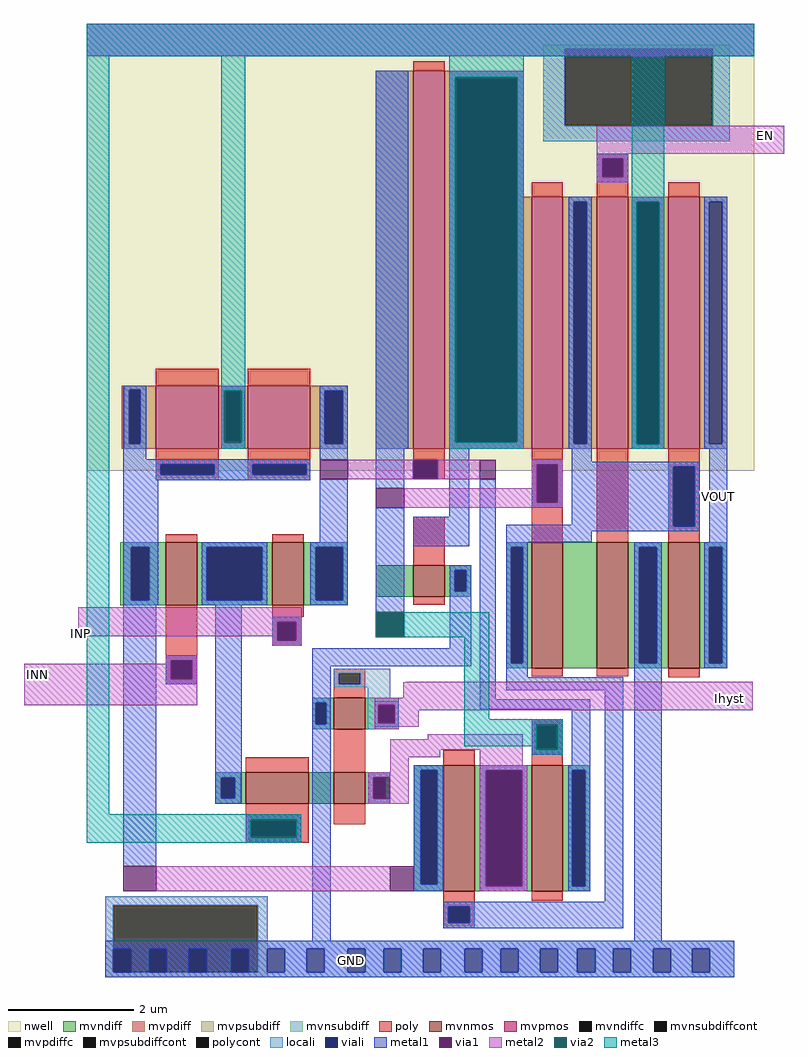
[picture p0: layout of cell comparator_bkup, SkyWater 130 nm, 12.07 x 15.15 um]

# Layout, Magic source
magic
tech sky130A
<< nwell >>
rect -261 100 799 810
<< mvnmos >>
rect -136 -114 -86 -14
rect 33 -114 83 -14
rect 257 -100 307 -50
rect 445 -214 495 -14
rect 549 -214 599 -14
rect 662 -214 712 -14
rect 131 -311 181 -261
rect -9 -429 91 -379
rect 131 -429 181 -379
rect 305 -568 355 -368
rect 445 -568 495 -368
<< mvpmos >>
rect -152 135 -52 235
rect -6 135 94 235
rect 257 135 307 735
rect 445 135 495 535
rect 549 135 599 535
rect 662 135 712 535
<< mvndiff >>
rect -208 -22 -136 -14
rect -208 -106 -191 -22
rect -162 -106 -136 -22
rect -208 -114 -136 -106
rect -86 -22 33 -14
rect -86 -106 -71 -22
rect 17 -106 33 -22
rect -86 -114 33 -106
rect 83 -22 153 -14
rect 83 -106 102 -22
rect 145 -106 153 -22
rect 405 -22 445 -14
rect 198 -100 257 -50
rect 307 -58 349 -50
rect 307 -92 323 -58
rect 341 -92 349 -58
rect 307 -100 349 -92
rect 83 -114 153 -106
rect 405 -206 413 -22
rect 431 -206 445 -22
rect 405 -214 445 -206
rect 495 -214 549 -14
rect 599 -22 662 -14
rect 599 -206 616 -22
rect 644 -206 662 -22
rect 599 -214 662 -206
rect 712 -22 756 -14
rect 712 -206 727 -22
rect 748 -206 756 -22
rect 712 -214 756 -206
rect 97 -269 131 -261
rect 97 -303 102 -269
rect 119 -303 131 -269
rect 97 -311 131 -303
rect 181 -272 234 -261
rect 181 -301 202 -272
rect 228 -301 234 -272
rect 181 -311 234 -301
rect 258 -376 305 -368
rect -57 -388 -9 -379
rect -57 -420 -48 -388
rect -26 -420 -9 -388
rect -57 -429 -9 -420
rect 91 -429 131 -379
rect 181 -387 221 -379
rect 181 -421 194 -387
rect 213 -421 221 -387
rect 181 -429 221 -421
rect 258 -557 269 -376
rect 295 -557 305 -376
rect 258 -568 305 -557
rect 355 -376 445 -368
rect 355 -560 372 -376
rect 430 -560 445 -376
rect 355 -568 445 -560
rect 495 -376 538 -368
rect 495 -560 510 -376
rect 530 -560 538 -376
rect 495 -568 538 -560
<< mvpdiff >>
rect -206 228 -152 235
rect -206 143 -194 228
rect -176 143 -152 228
rect -206 135 -152 143
rect -52 227 -6 235
rect -52 144 -43 227
rect -15 144 -6 227
rect -52 135 -6 144
rect 94 227 153 235
rect 94 143 117 227
rect 145 143 153 227
rect 94 135 153 143
rect 198 135 257 735
rect 307 725 433 735
rect 307 145 324 725
rect 422 535 433 725
rect 422 145 445 535
rect 307 135 445 145
rect 495 527 549 535
rect 495 143 512 527
rect 533 143 549 527
rect 495 135 549 143
rect 599 527 662 535
rect 599 142 612 527
rect 648 142 662 527
rect 599 135 662 142
rect 712 135 756 535
<< mvndiffc >>
rect -191 -106 -162 -22
rect -71 -106 17 -22
rect 102 -106 145 -22
rect 323 -92 341 -58
rect 413 -206 431 -22
rect 616 -206 644 -22
rect 727 -206 748 -22
rect 102 -303 119 -269
rect 202 -301 228 -272
rect -48 -420 -26 -388
rect 194 -421 213 -387
rect 269 -557 295 -376
rect 372 -560 430 -376
rect 510 -560 530 -376
<< mvpdiffc >>
rect -194 143 -176 228
rect -43 144 -15 227
rect 117 143 145 227
rect 324 145 422 725
rect 512 143 533 527
rect 612 142 648 527
<< mvpsubdiff >>
rect -232 -590 26 -576
rect -232 -697 -219 -590
rect 10 -697 26 -590
rect -232 -705 26 -697
<< mvnsubdiff >>
rect 464 770 760 776
rect 464 648 498 770
rect 733 648 760 770
rect 464 623 760 648
<< mvpsubdiffcont >>
rect -219 -697 10 -590
<< mvnsubdiffcont >>
rect 498 648 733 770
<< poly >>
rect 257 735 307 750
rect -152 235 -52 262
rect -6 235 94 262
rect 549 596 599 603
rect 549 566 557 596
rect 591 566 599 596
rect 445 535 495 558
rect 549 535 599 566
rect 662 535 712 558
rect -152 110 -52 135
rect -152 93 -144 110
rect -59 93 -52 110
rect -152 85 -52 93
rect -6 110 94 135
rect -6 93 2 110
rect 87 93 94 110
rect -6 85 94 93
rect 257 117 307 135
rect 296 86 307 117
rect 445 110 495 135
rect 445 49 453 110
rect 487 49 495 110
rect -136 -14 -86 -1
rect 33 -14 83 -1
rect 257 -50 307 27
rect 445 -14 495 49
rect 549 -14 599 135
rect 662 106 712 135
rect 662 12 670 106
rect 704 12 712 106
rect 662 -14 712 12
rect 257 -113 307 -100
rect -136 -201 -86 -114
rect 33 -132 83 -114
rect 33 -140 80 -132
rect 33 -170 41 -140
rect 71 -170 80 -140
rect 33 -178 80 -170
rect -136 -231 -128 -201
rect -94 -231 -86 -201
rect -136 -239 -86 -231
rect 131 -222 181 -215
rect 131 -239 139 -222
rect 173 -239 181 -222
rect 445 -227 495 -214
rect 549 -227 599 -214
rect 662 -228 712 -214
rect 131 -261 181 -239
rect 445 -303 495 -295
rect -9 -379 91 -355
rect 131 -379 181 -311
rect 445 -343 453 -303
rect 487 -343 495 -303
rect 305 -368 355 -344
rect 445 -368 495 -343
rect -9 -454 91 -429
rect -9 -483 -1 -454
rect 71 -483 91 -454
rect 131 -462 181 -429
rect -9 -491 91 -483
rect 305 -593 355 -568
rect 445 -583 495 -568
rect 305 -618 313 -593
rect 347 -618 355 -593
rect 305 -627 355 -618
<< polycont >>
rect 557 566 591 596
rect -144 93 -59 110
rect 2 93 87 110
rect 257 86 296 117
rect 453 49 487 110
rect 670 12 704 106
rect 41 -170 71 -140
rect -128 -231 -94 -201
rect 139 -239 173 -222
rect 453 -343 487 -303
rect -1 -483 71 -454
rect 313 -618 347 -593
<< locali >>
rect -261 770 799 810
rect -261 758 498 770
rect -202 228 -167 235
rect -202 143 -194 228
rect -176 143 -167 228
rect -202 135 -167 143
rect -48 227 -10 235
rect -48 144 -43 227
rect -15 144 -10 227
rect -48 135 -10 144
rect 109 227 153 235
rect 109 143 117 227
rect 145 143 153 227
rect 109 135 153 143
rect 198 135 249 735
rect 314 725 433 735
rect 314 145 324 725
rect 422 145 433 725
rect 464 648 498 758
rect 733 758 799 770
rect 733 648 760 758
rect 464 623 760 648
rect 549 596 599 603
rect 549 566 557 596
rect 591 566 599 596
rect 549 558 599 566
rect 314 135 433 145
rect 504 527 541 535
rect 504 143 512 527
rect 533 143 541 527
rect 504 135 541 143
rect 604 527 656 535
rect 604 142 612 527
rect 648 142 656 527
rect 604 135 656 142
rect 719 527 756 535
rect 719 143 727 527
rect 748 143 756 527
rect 719 135 756 143
rect -152 110 94 118
rect -152 93 -144 110
rect -59 93 2 110
rect 87 93 94 110
rect -152 85 94 93
rect 445 110 495 118
rect 445 49 453 110
rect 487 49 495 110
rect 445 41 495 49
rect 662 106 712 114
rect 662 12 670 106
rect 704 12 712 106
rect 662 4 712 12
rect -203 -22 -148 -14
rect -203 -106 -191 -22
rect -162 -106 -148 -22
rect -203 -114 -148 -106
rect -79 -22 25 -14
rect -79 -106 -71 -22
rect 17 -106 25 -22
rect -79 -114 25 -106
rect 94 -22 153 -14
rect 94 -106 102 -22
rect 145 -106 153 -22
rect 405 -22 439 -14
rect 315 -58 349 -50
rect 315 -92 323 -58
rect 341 -92 349 -58
rect 315 -100 349 -92
rect 94 -114 153 -106
rect 33 -140 80 -132
rect 33 -170 41 -140
rect 71 -170 80 -140
rect 33 -178 80 -170
rect -136 -201 -86 -193
rect -136 -231 -128 -201
rect -94 -231 -86 -201
rect 405 -206 413 -22
rect 431 -206 439 -22
rect 405 -214 439 -206
rect 608 -22 652 -14
rect 608 -206 616 -22
rect 644 -206 652 -22
rect 608 -214 652 -206
rect 719 -22 756 -14
rect 719 -206 727 -22
rect 748 -206 756 -22
rect 719 -214 756 -206
rect -136 -239 -86 -231
rect 131 -222 221 -215
rect 131 -239 139 -222
rect 173 -239 221 -222
rect 131 -244 221 -239
rect 185 -261 221 -244
rect 97 -269 125 -261
rect 97 -303 102 -269
rect 119 -303 125 -269
rect 97 -311 125 -303
rect 185 -272 234 -261
rect 185 -301 202 -272
rect 228 -301 234 -272
rect 185 -311 234 -301
rect 445 -303 495 -295
rect 445 -343 453 -303
rect 487 -343 495 -303
rect 445 -351 495 -343
rect 258 -376 305 -368
rect -57 -388 -17 -379
rect -57 -420 -48 -388
rect -26 -420 -17 -388
rect -57 -429 -17 -420
rect 186 -387 221 -379
rect 186 -421 194 -387
rect 213 -421 221 -387
rect 186 -429 221 -421
rect -9 -454 79 -446
rect -9 -483 -1 -454
rect 71 -483 79 -454
rect -9 -491 79 -483
rect 258 -557 269 -376
rect 295 -557 305 -376
rect 258 -568 305 -557
rect 363 -376 438 -368
rect 363 -560 372 -376
rect 430 -560 438 -376
rect 363 -568 438 -560
rect 503 -376 538 -368
rect 503 -560 510 -376
rect 530 -560 538 -376
rect 503 -568 538 -560
rect -232 -590 26 -576
rect -232 -697 -219 -590
rect 10 -647 26 -590
rect 305 -593 355 -585
rect 305 -618 313 -593
rect 347 -618 355 -593
rect 305 -627 355 -618
rect 10 -659 767 -647
rect 10 -697 25 -659
rect 53 -697 88 -659
rect 116 -697 153 -659
rect 181 -697 210 -659
rect 238 -697 273 -659
rect 301 -697 339 -659
rect 367 -697 396 -659
rect 424 -697 459 -659
rect 487 -697 518 -659
rect 546 -697 575 -659
rect 603 -697 638 -659
rect 666 -697 700 -659
rect 728 -697 767 -659
rect -232 -705 767 -697
<< viali >>
rect -194 143 -176 228
rect -43 144 -15 227
rect 117 143 145 227
rect 324 145 422 725
rect 557 566 591 596
rect 512 143 533 527
rect 612 142 648 527
rect 727 143 748 527
rect -144 93 -59 110
rect 2 93 87 110
rect 257 86 296 117
rect 453 49 487 110
rect 670 12 704 106
rect -191 -106 -162 -22
rect -71 -106 17 -22
rect 102 -106 145 -22
rect 323 -92 341 -58
rect 41 -170 71 -140
rect -128 -231 -94 -201
rect 413 -206 431 -22
rect 616 -206 644 -22
rect 727 -206 748 -22
rect 102 -303 119 -269
rect 202 -301 228 -272
rect 453 -343 487 -303
rect -48 -420 -26 -388
rect 194 -421 213 -387
rect -1 -483 71 -454
rect 269 -557 295 -376
rect 372 -560 430 -376
rect 510 -560 530 -376
rect 313 -618 347 -593
rect -219 -697 -191 -659
rect -162 -697 -134 -659
rect -99 -697 -71 -659
rect -32 -697 -4 -659
rect 25 -697 53 -659
rect 88 -697 116 -659
rect 153 -697 181 -659
rect 210 -697 238 -659
rect 273 -697 301 -659
rect 339 -697 367 -659
rect 396 -697 424 -659
rect 459 -697 487 -659
rect 518 -697 546 -659
rect 575 -697 603 -659
rect 638 -697 666 -659
rect 700 -697 728 -659
<< metal1 >>
rect -261 758 799 810
rect -203 228 -167 235
rect -203 143 -194 228
rect -176 143 -167 228
rect -203 118 -167 143
rect -48 227 -10 235
rect -48 144 -43 227
rect -15 144 -10 227
rect -48 135 -10 144
rect 109 227 153 235
rect 109 143 117 227
rect 145 143 153 227
rect -203 110 94 118
rect -203 93 -144 110
rect -59 93 2 110
rect 87 93 94 110
rect -203 85 94 93
rect 109 117 153 143
rect -203 -22 -148 85
rect 109 -14 153 86
rect -203 -106 -191 -22
rect -162 -106 -148 -22
rect -203 -114 -148 -106
rect -79 -22 25 -14
rect -79 -106 -71 -22
rect 17 -106 25 -22
rect -79 -114 25 -106
rect 94 -22 153 -14
rect 94 -106 102 -22
rect 145 -106 153 -22
rect 94 -114 153 -106
rect 198 135 249 735
rect 314 725 433 735
rect 314 145 324 725
rect 422 145 433 725
rect 549 596 599 603
rect 549 566 557 596
rect 591 566 599 596
rect 549 558 599 566
rect 314 135 433 145
rect 504 527 541 535
rect 504 143 512 527
rect 533 143 541 527
rect 504 135 541 143
rect 604 527 656 535
rect 604 142 612 527
rect 648 142 656 527
rect 604 135 656 142
rect 719 527 756 535
rect 719 143 727 527
rect 748 143 756 527
rect 719 135 756 143
rect 198 72 243 135
rect -203 -528 -151 -114
rect -136 -201 -86 -193
rect -136 -231 -128 -201
rect -94 -231 -86 -201
rect -136 -239 -86 -231
rect -57 -388 -15 -114
rect 198 -125 243 41
rect 314 27 346 135
rect 257 -20 346 27
rect 33 -140 80 -132
rect 33 -170 41 -140
rect 71 -170 80 -140
rect 315 -58 349 -50
rect 315 -92 323 -58
rect 341 -92 349 -58
rect 33 -178 80 -170
rect 315 -182 349 -92
rect -57 -420 -48 -388
rect -26 -420 -15 -388
rect -57 -429 -15 -420
rect 97 -211 349 -182
rect 97 -269 126 -211
rect 363 -263 388 86
rect 445 110 495 118
rect 445 49 453 110
rect 487 49 495 110
rect 445 41 495 49
rect 509 114 541 135
rect 509 106 712 114
rect 509 14 670 106
rect 405 12 670 14
rect 704 12 712 106
rect 405 4 712 12
rect 405 -14 541 4
rect 727 -14 756 135
rect 405 -22 439 -14
rect 405 -206 413 -22
rect 431 -206 439 -22
rect 405 -228 439 -206
rect 608 -22 652 -14
rect 608 -206 616 -22
rect 644 -206 652 -22
rect 405 -249 591 -228
rect 97 -303 102 -269
rect 119 -303 126 -269
rect -9 -454 79 -446
rect -9 -483 -1 -454
rect 71 -483 79 -454
rect -9 -491 79 -483
rect 97 -647 126 -303
rect 196 -272 234 -266
rect 196 -301 202 -272
rect 228 -301 234 -272
rect 363 -279 538 -263
rect 196 -307 234 -301
rect 445 -303 495 -295
rect 445 -343 453 -303
rect 487 -343 495 -303
rect 445 -351 495 -343
rect 509 -368 538 -279
rect 258 -376 305 -368
rect 186 -387 221 -379
rect 186 -421 194 -387
rect 220 -421 221 -387
rect 186 -429 221 -421
rect 258 -557 269 -376
rect 295 -557 305 -376
rect 258 -568 305 -557
rect 363 -376 438 -368
rect 363 -560 372 -376
rect 430 -560 438 -376
rect 363 -568 438 -560
rect 503 -376 538 -368
rect 503 -560 510 -376
rect 530 -560 538 -376
rect 503 -568 538 -560
rect 561 -585 591 -249
rect 305 -593 591 -585
rect 305 -618 313 -593
rect 347 -618 591 -593
rect 305 -627 591 -618
rect 608 -647 652 -206
rect 719 -22 756 -14
rect 719 -206 727 -22
rect 748 -206 756 -22
rect 719 -214 756 -206
rect -232 -659 767 -647
rect -232 -697 -219 -659
rect -191 -697 -162 -659
rect -134 -697 -99 -659
rect -71 -697 -32 -659
rect -4 -697 25 -659
rect 53 -697 88 -659
rect 116 -697 153 -659
rect 181 -697 210 -659
rect 238 -697 273 -659
rect 301 -697 339 -659
rect 367 -697 396 -659
rect 424 -697 459 -659
rect 487 -697 518 -659
rect 546 -697 575 -659
rect 603 -697 638 -659
rect 666 -697 700 -659
rect 728 -697 767 -659
rect -232 -705 767 -697
<< via1 >>
rect -43 144 -15 227
rect 109 86 153 117
rect 324 145 422 725
rect 557 566 591 596
rect 612 142 648 527
rect 257 86 296 117
rect 198 41 243 72
rect -128 -231 -94 -201
rect 363 86 388 117
rect 41 -170 71 -140
rect 198 -165 243 -125
rect 453 49 487 110
rect -1 -483 71 -454
rect -203 -568 -151 -528
rect 202 -301 228 -272
rect 453 -343 487 -303
rect 194 -421 213 -387
rect 213 -421 220 -387
rect 221 -568 258 -528
rect 372 -560 430 -376
<< metal2 >>
rect -261 758 799 810
rect 314 725 433 735
rect -48 227 -10 235
rect -48 144 -43 227
rect -15 144 -10 227
rect -48 135 -10 144
rect 314 145 324 725
rect 422 145 433 725
rect 549 603 846 648
rect 549 596 599 603
rect 549 566 557 596
rect 591 566 599 596
rect 549 558 599 566
rect 314 135 433 145
rect 604 527 656 535
rect 604 142 612 527
rect 648 142 656 527
rect 604 135 656 142
rect 153 86 257 117
rect 296 86 363 117
rect 445 110 495 118
rect 445 72 453 110
rect 243 49 453 72
rect 487 49 495 110
rect 243 41 495 49
rect -275 -140 80 -117
rect -275 -163 41 -140
rect 33 -170 41 -163
rect 71 -170 80 -140
rect 33 -178 80 -170
rect -136 -201 -86 -193
rect -136 -207 -128 -201
rect -361 -231 -128 -207
rect -94 -231 -86 -201
rect -361 -273 -86 -231
rect 246 -236 796 -235
rect 241 -261 796 -236
rect 196 -272 796 -261
rect 196 -301 202 -272
rect 228 -281 796 -272
rect 228 -301 266 -281
rect 196 -307 266 -301
rect 445 -303 495 -295
rect 196 -311 234 -307
rect 280 -327 431 -319
rect 221 -343 431 -327
rect 221 -355 300 -343
rect 221 -379 250 -355
rect 186 -387 250 -379
rect 186 -421 194 -387
rect 220 -421 250 -387
rect 186 -429 250 -421
rect 363 -368 431 -343
rect 445 -343 453 -303
rect 487 -343 495 -303
rect 445 -351 495 -343
rect 363 -376 438 -368
rect -9 -454 79 -446
rect -9 -483 -1 -454
rect 71 -483 79 -454
rect -9 -491 79 -483
rect -151 -568 221 -528
rect 363 -560 372 -376
rect 430 -560 438 -376
rect 363 -568 438 -560
<< via2 >>
rect -43 144 -15 227
rect 324 145 422 725
rect 612 142 648 527
rect 198 -165 243 -125
rect 453 -343 487 -303
rect -1 -483 71 -454
<< metal3 >>
rect -261 758 799 810
rect -261 -446 -226 758
rect -48 227 -10 758
rect -48 144 -43 227
rect -15 144 -10 227
rect -48 135 -10 144
rect 314 725 433 758
rect 314 145 324 725
rect 422 145 433 725
rect 314 135 433 145
rect 604 527 656 758
rect 604 142 612 527
rect 648 142 656 527
rect 604 135 656 142
rect 243 -165 378 -125
rect 338 -295 378 -165
rect 338 -303 495 -295
rect 338 -338 453 -303
rect 445 -343 453 -338
rect 487 -343 495 -303
rect 445 -351 495 -343
rect -261 -454 79 -446
rect -261 -483 -1 -454
rect 71 -483 79 -454
rect -261 -491 79 -483
<< labels >>
rlabel viali 159 -678 159 -678 1 GND
rlabel metal2 816 632 816 632 1 EN
rlabel metal2 759 -262 759 -262 1 Ihyst
rlabel metal2 -340 -224 -340 -224 1 INN
rlabel metal2 -271 -159 -271 -159 1 INP
rlabel metal1 742 59 742 59 1 VOUT
<< end >>
